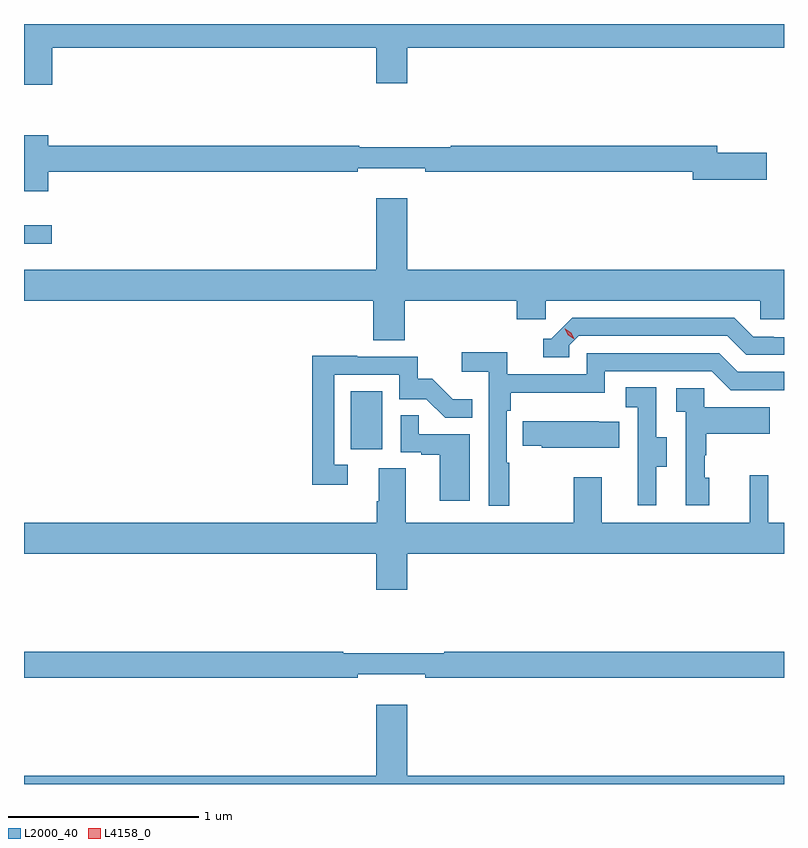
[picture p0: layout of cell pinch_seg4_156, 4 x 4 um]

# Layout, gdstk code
import gdstk
lib = gdstk.Library(unit=1e-6, precision=1e-09)
def R(c, l, rs):  # rectangles x0, y0, x1, y1
    for r in rs: c.add(gdstk.rectangle(r[:2], r[2:], *l))
def P(c, l, *ps):  # polygons
    for p in ps: c.add(gdstk.Polygon(p, *l))
L2000_40 = (2000, 40)
L4158_0 = (4158, 0)

pinch_seg4_156 = lib.new_cell('pinch_seg4_156')
R(pinch_seg4_156, L2000_40, [(1141.898,796.038,1142.062,796.345), (1140.177,797.12,1140.322,797.217)])
P(pinch_seg4_156, L2000_40, [(1140.326,798.152),(1142.03,798.152),(1142.03,797.964),(1142.194,797.964),(1142.194,798.152),(1144.177,798.152),(1144.177,798.277),(1140.177,798.277),(1140.177,797.958),(1140.326,797.958)],
  [(1140.304,797.5),(1141.934,797.5),(1141.934,797.519),(1142.29,797.519),(1142.29,797.5),(1143.698,797.5),(1143.698,797.458),(1144.087,797.458),(1144.087,797.6),(1143.826,797.6),(1143.826,797.636),(1142.422,797.636),(1142.422,797.629),(1141.941,797.629),(1141.941,797.636),(1140.304,797.636),(1140.304,797.692),(1140.177,797.692),(1140.177,797.396),(1140.304,797.396)],
  [(1142.18,796.82),(1142.771,796.82),(1142.771,796.722),(1142.922,796.722),(1142.922,796.82),(1144.053,796.82),(1144.053,796.722),(1144.177,796.722),(1144.177,796.984),(1142.194,796.984),(1142.194,797.359),(1142.03,797.359),(1142.03,796.984),(1140.177,796.984),(1140.177,796.82),(1142.015,796.82),(1142.015,796.612),(1142.18,796.612)],
  [(1143.048,796.587),(1143.096,796.635),(1143.879,796.635),(1143.978,796.536),(1144.177,796.536),(1144.177,796.629),(1144.122,796.629),(1144.122,796.632),(1144.015,796.632),(1143.916,796.731),(1143.063,796.731),(1142.952,796.62),(1142.909,796.62),(1142.909,796.524),(1143.048,796.524)],
  [(1142.731,795.968),(1142.718,795.968),(1142.718,796.241),(1142.738,796.241),(1142.738,796.337),(1143.234,796.337),(1143.234,796.449),(1143.798,796.449),(1143.897,796.35),(1144.177,796.35),(1144.177,796.446),(1143.934,796.446),(1143.835,796.545),(1143.138,796.545),(1143.138,796.434),(1142.72,796.434),(1142.72,796.55),(1142.481,796.55),(1142.481,796.448),(1142.622,796.448),(1142.622,795.741),(1142.731,795.741)],
  [(1141.882,795.957),(1141.809,795.957),(1141.809,796.431),(1142.151,796.431),(1142.151,796.302),(1142.295,796.302),(1142.393,796.204),(1142.537,796.204),(1142.537,796.303),(1142.433,796.303),(1142.326,796.41),(1142.25,796.41),(1142.25,796.527),(1141.931,796.527),(1141.931,796.532),(1141.693,796.532),(1141.693,795.852),(1141.882,795.852)],
  [(1143.505,795.946),(1143.559,795.946),(1143.559,796.101),(1143.504,796.101),(1143.504,796.364),(1143.345,796.364),(1143.345,796.261),(1143.408,796.261),(1143.408,795.957),(1143.407,795.957),(1143.407,795.744),(1143.505,795.744)],
  [(1143.784,795.888),(1143.759,795.888),(1143.759,796.007),(1143.769,796.007),(1143.769,796.121),(1144.103,796.121),(1144.103,796.261),(1143.756,796.261),(1143.756,796.359),(1143.609,796.359),(1143.609,796.235),(1143.66,796.235),(1143.66,795.744),(1143.784,795.744)],
  [(1142.524,796.119),(1142.255,796.119),(1142.255,796.217),(1142.16,796.217),(1142.16,796.023),(1142.267,796.023),(1142.267,796.011),(1142.366,796.011),(1142.366,795.768),(1142.524,795.768)],
  [(1143.311,796.183),(1143.203,796.183),(1143.203,796.186),(1142.803,796.186),(1142.803,796.057),(1142.901,796.057),(1142.901,796.046),(1143.311,796.046)],
  [(1142.194,795.488),(1144.177,795.488),(1144.177,795.652),(1144.095,795.652),(1144.095,795.901),(1143.998,795.901),(1143.998,795.652),(1143.217,795.652),(1143.217,795.892),(1143.07,795.892),(1143.07,795.652),(1142.185,795.652),(1142.185,795.938),(1142.045,795.938),(1142.045,795.764),(1142.033,795.764),(1142.033,795.652),(1140.177,795.652),(1140.177,795.488),(1142.03,795.488),(1142.03,795.3),(1142.194,795.3)],
  [(1141.934,794.855),(1142.29,794.855),(1142.29,794.836),(1144.177,794.836),(1144.177,794.972),(1142.389,794.972),(1142.389,794.965),(1141.856,794.965),(1141.856,794.972),(1140.177,794.972),(1140.177,794.836),(1141.934,794.836)],
  [(1144.177,794.32),(1142.194,794.32),(1142.194,794.695),(1142.03,794.695),(1142.03,794.32),(1140.177,794.32),(1140.177,794.277),(1144.177,794.277)])
P(pinch_seg4_156, L4158_0, [(1143.071,796.621),(1143.041,796.64),(1143.024,796.672),(1143.024,796.673),(1143.025,796.673),(1143.056,796.653),(1143.072,796.621),(1143.072,796.621)])

lib.write_gds('pinch_seg4_156.gds')
